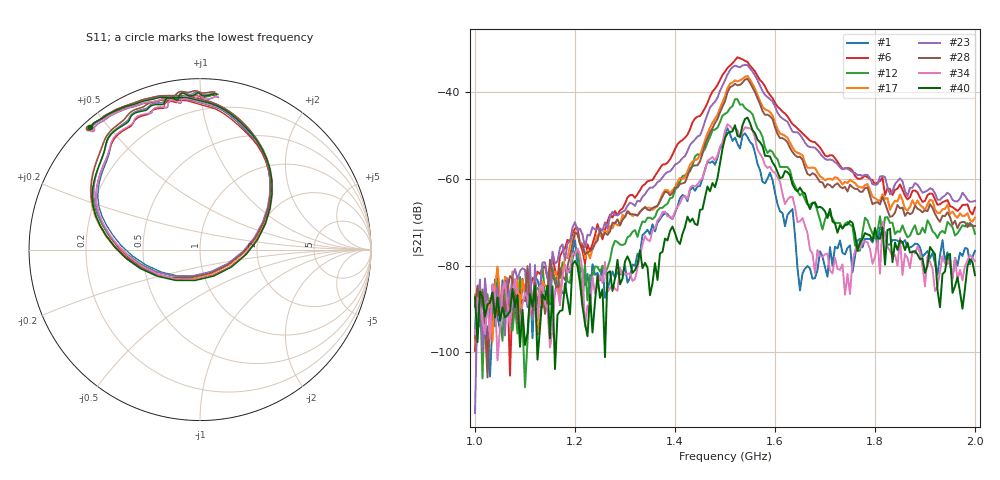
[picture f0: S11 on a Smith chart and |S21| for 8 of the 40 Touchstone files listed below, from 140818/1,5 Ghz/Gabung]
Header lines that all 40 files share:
# Hz S RI R 50
! CMT, C1220, 16058040, 17.2.0/1
! Data: Format (Calibration Info)
! Freq  S11: Re/Im (F2)  S21: Re/Im (F2)  S12: Re/Im (F2)  S22: Re/Im (F2)
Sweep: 1 GHz to 2 GHz
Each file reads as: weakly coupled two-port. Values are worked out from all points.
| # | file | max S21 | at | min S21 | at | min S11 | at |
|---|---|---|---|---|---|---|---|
| 1 | Sudut_190_Titik_4.s2p | -48.40 dB | 1.505 GHz | -105.6 dB | 1.03 GHz | -16.1 dB | 1.53 GHz |
| 2 | Sudut_190_Titik_5.s2p | -52.70 dB | 1.53 GHz | -111.7 dB | 1.09 GHz | -17.2 dB | 1.53 GHz |
| 3 | Sudut_190_Titik_7.s2p | -42.37 dB | 1.535 GHz | -100.5 dB | 1.07 GHz | -15.8 dB | 1.53 GHz |
| 4 | Sudut_190_Titik_9.s2p | -33.26 dB | 1.54 GHz | -91.6 dB | 1.01 GHz | -16.7 dB | 1.53 GHz |
| 5 | Sudut_200_Titik_7.s2p | -42.55 dB | 1.545 GHz | -106.1 dB | 1.16 GHz | -15.9 dB | 1.53 GHz |
| 6 | Sudut_210_Titik_1.s2p | -32.04 dB | 1.525 GHz | -105.3 dB | 1.07 GHz | -15.5 dB | 1.53 GHz |
| 7 | Sudut_210_Titik_4.s2p | -48.21 dB | 1.505 GHz | -97.6 dB | 1.005 GHz | -15.6 dB | 1.53 GHz |
| 8 | Sudut_210_Titik_5.s2p | -52.09 dB | 1.535 GHz | -103.0 dB | 1.06 GHz | -16.6 dB | 1.53 GHz |
| 9 | Sudut_210_Titik_6.s2p | -46.75 dB | 1.545 GHz | -114.3 dB | 1.08 GHz | -16.6 dB | 1.53 GHz |
| 10 | Sudut_210_Titik_8.s2p | -35.67 dB | 1.545 GHz | -110.6 dB | 1.09 GHz | -16.1 dB | 1.53 GHz |
| 11 | Sudut_220_Titik_1.s2p | -32.38 dB | 1.525 GHz | -98.1 dB | 1.015 GHz | -15.4 dB | 1.53 GHz |
| 12 | Sudut_220_Titik_3.s2p | -41.69 dB | 1.52 GHz | -108.0 dB | 1.1 GHz | -16.5 dB | 1.53 GHz |
| 13 | Sudut_220_Titik_6.s2p | -46.29 dB | 1.545 GHz | -104.9 dB | 1.03 GHz | -16.2 dB | 1.53 GHz |
| 14 | Sudut_220_Titik_7.s2p | -42.25 dB | 1.545 GHz | -107.7 dB | 1.055 GHz | -15.8 dB | 1.53 GHz |
| 15 | Sudut_220_Titik_8.s2p | -35.98 dB | 1.545 GHz | -101.1 dB | 1.06 GHz | -16.1 dB | 1.53 GHz |
| 16 | Sudut_230_Titik_2.s2p | -36.40 dB | 1.525 GHz | -116.0 dB | 1.075 GHz | -16.5 dB | 1.53 GHz |
| 17 | Sudut_230_Titik_8.s2p | -36.35 dB | 1.545 GHz | -97.4 dB | 1.035 GHz | -16.1 dB | 1.53 GHz |
| 18 | Sudut_230_Titik_9.s2p | -33.41 dB | 1.545 GHz | -102.0 dB | 1.035 GHz | -16.8 dB | 1.53 GHz |
| 19 | Sudut_240_Titik_1.s2p | -32.88 dB | 1.525 GHz | -96.5 dB | 1.06 GHz | -15.5 dB | 1.53 GHz |
| 20 | Sudut_240_Titik_2.s2p | -36.59 dB | 1.525 GHz | -106.0 dB | 1 GHz | -16.6 dB | 1.53 GHz |
| 21 | Sudut_240_Titik_6.s2p | -46.44 dB | 1.545 GHz | -101.8 dB | 1.085 GHz | -15.4 dB | 1.53 GHz |
| 22 | Sudut_240_Titik_7.s2p | -42.51 dB | 1.545 GHz | -116.3 dB | 1.015 GHz | -15.4 dB | 1.53 GHz |
| 23 | Sudut_240_Titik_9.s2p | -33.79 dB | 1.54 GHz | -113.9 dB | 1 GHz | -16.9 dB | 1.53 GHz |
| 24 | Sudut_250_Titik_1.s2p | -32.91 dB | 1.525 GHz | -100.7 dB | 1.09 GHz | -15.5 dB | 1.53 GHz |
| 25 | Sudut_250_Titik_2.s2p | -36.89 dB | 1.525 GHz | -101.5 dB | 1.09 GHz | -16.7 dB | 1.53 GHz |
| 26 | Sudut_250_Titik_4.s2p | -48.01 dB | 1.505 GHz | -99.7 dB | 1.285 GHz | -15.3 dB | 1.53 GHz |
| 27 | Sudut_250_Titik_6.s2p | -46.21 dB | 1.545 GHz | -103.5 dB | 1.23 GHz | -15.1 dB | 1.53 GHz |
| 28 | Sudut_250_Titik_8.s2p | -36.99 dB | 1.545 GHz | -105.8 dB | 1.025 GHz | -16.4 dB | 1.53 GHz |
| 29 | Sudut_260_Titik_1.s2p | -32.89 dB | 1.525 GHz | -106.8 dB | 1.04 GHz | -15.6 dB | 1.53 GHz |
| 30 | Sudut_260_Titik_4.s2p | -47.27 dB | 1.505 GHz | -110.5 dB | 1.125 GHz | -15.4 dB | 1.53 GHz |
| 31 | Sudut_270_Titik_1.s2p | -32.86 dB | 1.525 GHz | -112.9 dB | 1.06 GHz | -15.8 dB | 1.53 GHz |
| 32 | Sudut_270_Titik_2.s2p | -37.06 dB | 1.525 GHz | -97.0 dB | 1.1 GHz | -16.8 dB | 1.53 GHz |
| 33 | Sudut_270_Titik_3.s2p | -42.56 dB | 1.525 GHz | -106.0 dB | 1.08 GHz | -16.2 dB | 1.53 GHz |
| 34 | Sudut_270_Titik_4.s2p | -47.42 dB | 1.505 GHz | -101.8 dB | 1.045 GHz | -15.3 dB | 1.53 GHz |
| 35 | Sudut_270_Titik_5.s2p | -51.80 dB | 1.535 GHz | -106.0 dB | 1.1 GHz | -15.3 dB | 1.53 GHz |
| 36 | Sudut_270_Titik_8.s2p | -37.18 dB | 1.54 GHz | -98.1 dB | 1.095 GHz | -17.0 dB | 1.53 GHz |
| 37 | Sudut_270_Titik_9.s2p | -34.69 dB | 1.54 GHz | -93.3 dB | 1.055 GHz | -16.9 dB | 1.53 GHz |
| 38 | Sudut_280_Titik_2.s2p | -36.95 dB | 1.525 GHz | -97.4 dB | 1.06 GHz | -16.7 dB | 1.53 GHz |
| 39 | Sudut_280_Titik_5.s2p | -52.11 dB | 1.535 GHz | -102.9 dB | 1.03 GHz | -15.5 dB | 1.53 GHz |
| 40 | Sudut_280_Titik_6.s2p | -45.93 dB | 1.545 GHz | -103.8 dB | 1.16 GHz | -15.2 dB | 1.53 GHz |
